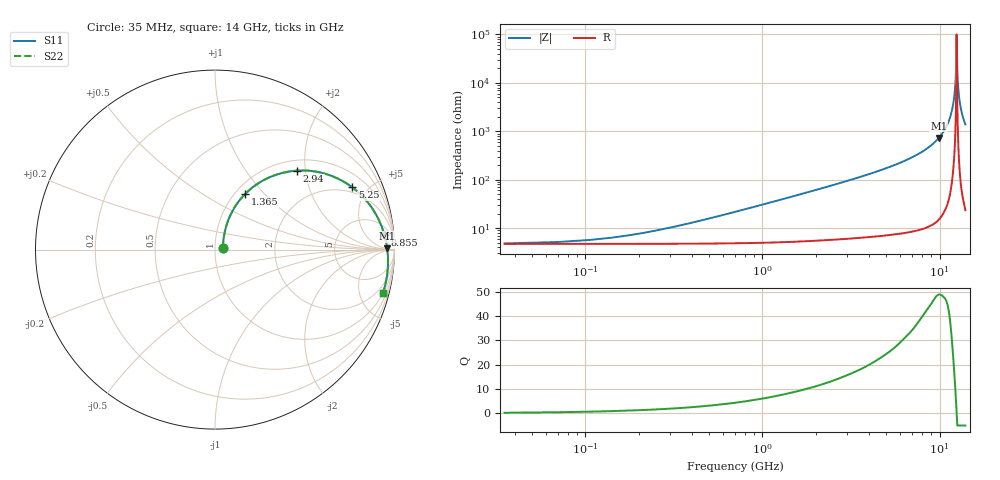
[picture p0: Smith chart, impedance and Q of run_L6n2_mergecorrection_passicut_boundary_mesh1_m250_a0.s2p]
#  Hz  S  RI  R  50
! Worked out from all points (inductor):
!   400 points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, 35 MHz to 14 GHz, reference 50 ohm
!   read as one part in series: L = 4.78 nH near 490 MHz
!   highest Q = 48.9 at 9.905 GHz (marker M1), where L = 11.7 nH
!   self-resonance near 12.49 GHz
!   S11 on the Smith chart (normalised r, x): 35 MHz: 1.09, +0.02; 1.365 GHz: 1.11, +0.78; 2.94 GHz: 1.22, +1.80; 5.25 GHz: 1.68, +3.95; 8.855 GHz: 10, +17; 14 GHz: 1.06, -7.75
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3.5e7  0.044 0.00888  0.9539 -0.0103  0.9539 -0.0103  0.0441 0.00888
5.95e8  0.0682 0.1483  0.9215 -0.1686  0.9215 -0.1686  0.0682 0.1483
1.365e9  0.1673 0.3095  0.8106 -0.3372  0.8106 -0.3372  0.1673 0.3094
2.38e9  0.3549 0.4216  0.6201 -0.4587  0.6201 -0.4587  0.3548 0.4214
2.94e9  0.4573 0.4401  0.5162 -0.4828  0.5162 -0.4828  0.4572 0.4399
4.69e9  0.7085 0.3835  0.2626 -0.4457  0.2626 -0.4457  0.7084 0.3832
5.25e9  0.7649 0.3471  0.2055 -0.4157  0.2055 -0.4157  0.7648 0.3467
7.035e9  0.8854 0.2154  0.0825 -0.305  0.0825 -0.305  0.8853 0.2149
8.855e9  0.9444 0.0812  0.0207 -0.1927  0.0207 -0.1927  0.9442 0.0806
9.345e9  0.9527 0.0467  0.0114 -0.1641  0.0114 -0.1641  0.9525 0.0461
9.905e9  0.9593 0.00829  0.00381 -0.1324  0.00381 -0.1324  0.959 0.00763
1.0955e10  0.9642 -0.0609  -0.0031 -0.0761  -0.0031 -0.0761  0.9638 -0.0616
1.169e10  0.9626 -0.1071  -0.00305 -0.0389  -0.00305 -0.0389  0.9623 -0.1078
1.204e10  0.9607 -0.1285  -0.00177 -0.0218  -0.00177 -0.0218  0.9603 -0.1293
1.2285e10  0.9588 -0.1433  -0.000467 -0.0102  -0.000467 -0.0102  0.9584 -0.144
1.2425e10  0.9575 -0.1516  0.000423 -0.00359  0.000423 -0.00359  0.9571 -0.1524
1.2495e10  0.9569 -0.1558  0.000908 -0.000322  0.000908 -0.000322  0.9565 -0.1565
1.2565e10  0.9562 -0.1599  0.00142 0.00294  0.00142 0.00294  0.9558 -0.1607
1.2635e10  0.9554 -0.164  0.00196 0.00618  0.00196 0.00618  0.955 -0.1648
1.2845e10  0.9531 -0.1762  0.00376 0.0158  0.00376 0.0158  0.9527 -0.177
1.33e10  0.9473 -0.2021  0.00857 0.0363  0.00857 0.0363  0.9468 -0.2029
1.4e10  0.9361 -0.241  0.018 0.0661  0.018 0.0661  0.9355 -0.2418
